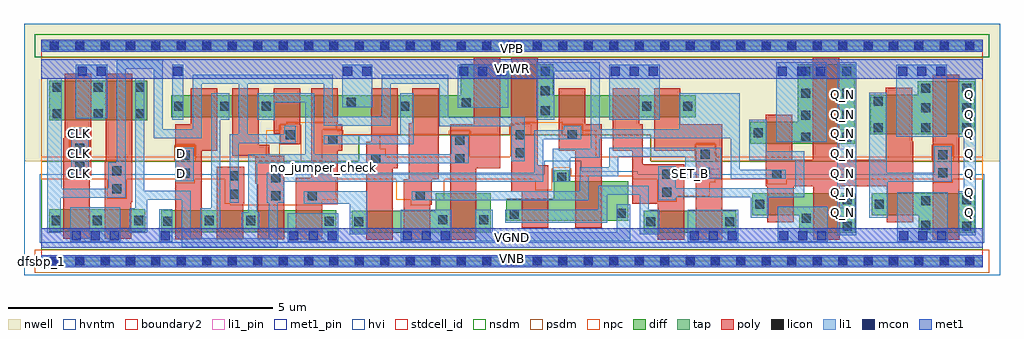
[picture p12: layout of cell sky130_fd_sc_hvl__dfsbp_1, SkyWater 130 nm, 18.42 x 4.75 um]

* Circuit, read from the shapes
.subckt sky130_fd_sc_hvl__dfsbp_1 CLK D Q Q_N SET_B VGND VNB VPB VPWR
XM1 VGND CLK n1 VNB sky130_fd_pr__nfet_g5v0d10v5 w=0.42 l=0.5
XM2 n2 n1 VGND VNB sky130_fd_pr__nfet_g5v0d10v5 w=0.42 l=0.5
XM3 n3 D VGND VNB sky130_fd_pr__nfet_g5v0d10v5 w=0.42 l=0.5
XM4 n4 n1 n3 VNB sky130_fd_pr__nfet_g5v0d10v5 w=0.42 l=0.5
XM5 n5 n2 n4 VNB sky130_fd_pr__nfet_g5v0d10v5 w=0.42 l=0.5
XM6 VGND n6 n5 VNB sky130_fd_pr__nfet_g5v0d10v5 w=0.42 l=0.5
XM7 n7 n4 n6 VNB sky130_fd_pr__nfet_g5v0d10v5 w=0.42 l=0.5
XM8 VGND SET_B n7 VNB sky130_fd_pr__nfet_g5v0d10v5 w=0.42 l=0.5
XM9 n8 n4 VGND VNB sky130_fd_pr__nfet_g5v0d10v5 w=0.75 l=0.5
XM10 n9 n1 n10 VNB sky130_fd_pr__nfet_g5v0d10v5 w=0.42 l=0.5
XM11 n8 n2 n9 VNB sky130_fd_pr__nfet_g5v0d10v5 w=0.75 l=0.5
XM12 n11 n12 n10 VNB sky130_fd_pr__nfet_g5v0d10v5 w=0.42 l=0.5
XM13 VGND SET_B n11 VNB sky130_fd_pr__nfet_g5v0d10v5 w=0.42 l=0.5
XM14 VGND n9 n12 VNB sky130_fd_pr__nfet_g5v0d10v5 w=0.42 l=0.5
XM15 Q_N n9 VGND VNB sky130_fd_pr__nfet_g5v0d10v5 w=0.75 l=0.5
XM16 VGND n9 n13 VNB sky130_fd_pr__nfet_g5v0d10v5 w=0.42 l=0.5
XM17 Q n13 VGND VNB sky130_fd_pr__nfet_g5v0d10v5 w=0.75 l=0.5
XM18 VPWR CLK n1 VPB sky130_fd_pr__pfet_g5v0d10v5 w=0.75 l=0.5
XM19 n2 n1 VPWR VPB sky130_fd_pr__pfet_g5v0d10v5 w=0.75 l=0.5
XM20 n3 D VPWR VPB sky130_fd_pr__pfet_g5v0d10v5 w=0.42 l=0.5
XM21 n4 n2 n3 VPB sky130_fd_pr__pfet_g5v0d10v5 w=0.42 l=0.5
XM22 n14 n1 n4 VPB sky130_fd_pr__pfet_g5v0d10v5 w=0.42 l=0.5
XM23 VPWR n6 n14 VPB sky130_fd_pr__pfet_g5v0d10v5 w=0.42 l=0.5
XM24 n6 n4 VPWR VPB sky130_fd_pr__pfet_g5v0d10v5 w=0.42 l=0.5
XM25 VPWR SET_B n6 VPB sky130_fd_pr__pfet_g5v0d10v5 w=0.42 l=0.5
XM26 n15 n4 VPWR VPB sky130_fd_pr__pfet_g5v0d10v5 w=1 l=0.5
XM27 n9 n1 n15 VPB sky130_fd_pr__pfet_g5v0d10v5 w=1 l=0.5
XM28 n16 n2 n9 VPB sky130_fd_pr__pfet_g5v0d10v5 w=0.42 l=0.5
XM29 VPWR n12 n16 VPB sky130_fd_pr__pfet_g5v0d10v5 w=0.42 l=0.5
XM30 n9 SET_B VPWR VPB sky130_fd_pr__pfet_g5v0d10v5 w=0.42 l=0.5
XM31 VPWR n9 n12 VPB sky130_fd_pr__pfet_g5v0d10v5 w=0.42 l=0.5
XM32 Q_N n9 VPWR VPB sky130_fd_pr__pfet_g5v0d10v5 w=1.5 l=0.5
XM33 VPWR n9 n13 VPB sky130_fd_pr__pfet_g5v0d10v5 w=0.75 l=0.5
XM34 Q n13 VPWR VPB sky130_fd_pr__pfet_g5v0d10v5 w=1 l=0.5
.ends

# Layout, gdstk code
import gdstk
lib = gdstk.Library(unit=1e-6, precision=1e-09)
def R(c, l, rs):  # rectangles x0, y0, x1, y1
    for r in rs: c.add(gdstk.rectangle(r[:2], r[2:], *l))
def A(c, l, x, y, w, h, nx, ny, dx, dy):  # array of equal rectangles
    R(c, l, [(x+i*dx, y+j*dy, x+i*dx+w, y+j*dy+h) for i in range(nx) for j in range(ny)])
def P(c, l, *ps):  # polygons
    for p in ps: c.add(gdstk.Polygon(p, *l))
nwell = (64, 20)
diff = (65, 20)
tap = (65, 44)
poly = (66, 20)
licon = (66, 44)
li1_pin = (67, 16)
li1 = (67, 20)
mcon = (67, 44)
met1_pin = (68, 16)
met1 = (68, 20)
hvi = (75, 20)
stdcell_id = (81, 4)
nsdm = (93, 44)
psdm = (94, 20)
npc = (95, 20)
hvntm = (125, 20)
boundary2 = (236, 0)

sky130_fd_sc_hvl__dfsbp_ = lib.new_cell('sky130_fd_sc_hvl__dfsbp_1')
P(sky130_fd_sc_hvl__dfsbp_, nwell, [(18.09,4.485),(-0.33,4.485),(-0.33,1.885),(5.99,1.885),(5.99,2.385),(11.5,2.385),(11.5,1.885),(18.09,1.885)])
R(sky130_fd_sc_hvl__dfsbp_, diff, [(11.37,0.535,13.11,0.955), (2.26,0.545,5.56,0.965), (0.15,0.56,1.96,0.98), (0.15,2.66,2,3.41)])
P(sky130_fd_sc_hvl__dfsbp_, diff, [(8.475,1.285),(7.445,1.285),(7.445,0.955),(5.86,0.955),(5.86,0.535),(8.475,0.535)],
  [(11.07,1.515),(9.96,1.515),(9.96,1.715),(9.67,1.715),(9.67,1.185),(8.775,1.185),(8.775,0.765),(11.07,0.765)],
  [(12.345,3.135),(9.655,3.135),(9.655,3.715),(7.91,3.715),(7.91,3.135),(2.445,3.135),(2.445,2.715),(12.345,2.715)],
  [(15.345,3.715),(14.275,3.715),(14.275,2.635),(13.38,2.635),(13.38,2.215),(15.345,2.215)],
  [(15.355,1.285),(13.41,1.285),(13.41,0.865),(14.305,0.865),(14.305,0.535),(15.355,0.535)],
  [(17.61,3.395),(16.54,3.395),(16.54,3.145),(15.645,3.145),(15.645,2.395),(17.61,2.395)],
  [(17.61,1.285),(15.665,1.285),(15.665,0.865),(16.56,0.865),(16.56,0.535),(17.61,0.535)])
R(sky130_fd_sc_hvl__dfsbp_, tap, [(0,-0.085,17.76,0.085), (0,3.985,17.76,4.155)])
R(sky130_fd_sc_hvl__dfsbp_, poly, [(16.825,0.405,17.325,3.525)])
P(sky130_fd_sc_hvl__dfsbp_, poly, [(0.935,3.54),(0.435,3.54),(0.435,2.32),(0.415,2.32),(0.415,0.43),(0.915,0.43),(0.915,1.61),(0.935,1.61)],
  [(1.715,3.54),(1.215,3.54),(1.215,1.89),(1.195,1.89),(1.195,0.43),(1.695,0.43),(1.695,1.11),(1.715,1.11)],
  [(3.32,3.265),(2.82,3.265),(2.82,2.585),(2.525,2.585),(2.525,0.415),(3.025,0.415),(3.025,2.085),(3.32,2.085)],
  [(3.825,1.785),(3.305,1.785),(3.305,0.415),(3.805,0.415),(3.805,1.085),(3.825,1.085)],
  [(4.585,1.995),(4.3,1.995),(4.3,2.195),(4.1,2.195),(4.1,3.265),(3.6,3.265),(3.6,1.995),(4.035,1.995),(4.035,1.465),(4.085,1.465),(4.085,0.415),(4.585,0.415)],
  [(4.88,3.265),(4.38,3.265),(4.38,2.405),(4.51,2.405),(4.51,2.205),(4.88,2.205)],
  [(5.68,2.585),(5.59,2.585),(5.59,3.265),(5.09,3.265),(5.09,1.575),(4.795,1.575),(4.795,0.415),(5.295,0.415),(5.295,1.075),(5.59,1.075),(5.59,2.085),(5.68,2.085)],
  [(6.72,3.265),(6.22,3.265),(6.22,2.255),(6.125,2.255),(6.125,0.405),(6.625,0.405),(6.625,1.755),(6.72,1.755)],
  [(7.5,3.265),(7,3.265),(7,2.605),(6.93,2.605),(6.93,1.545),(6.835,1.545),(6.835,0.405),(7.335,0.405),(7.335,1.065),(7.37,1.065),(7.37,1.545),(7.5,1.545)],
  [(8.66,3.845),(8.16,3.845),(8.16,2.585),(7.71,2.585),(7.71,0.405),(8.21,0.405),(8.21,1.755),(8.66,1.755)],
  [(9.56,1.815),(9.37,1.815),(9.37,3.845),(8.87,3.845),(8.87,1.315),(9.06,1.315),(9.06,0.635),(9.56,0.635)],
  [(10.57,2.585),(10.265,2.585),(10.265,3.265),(9.765,3.265),(9.765,2.085),(10.07,2.085),(10.07,0.635),(10.57,0.635)],
  [(12.135,1.83),(11.35,1.83),(11.35,2.585),(11.28,2.585),(11.28,3.265),(10.78,3.265),(10.78,2.085),(11.145,2.085),(11.145,1.085),(11.635,1.085),(11.635,0.405),(12.135,0.405)],
  [(12.845,2.585),(12.06,2.585),(12.06,3.265),(11.56,3.265),(11.56,2.085),(12.345,2.085),(12.345,0.405),(12.845,0.405)],
  [(16.45,2.265),(16.43,2.265),(16.43,3.275),(15.93,3.275),(15.93,1.915),(15.06,1.915),(15.06,3.845),(14.56,3.845),(14.56,1.915),(14.165,1.915),(14.165,2.765),(13.665,2.765),(13.665,1.415),(13.695,1.415),(13.695,0.735),(14.195,0.735),(14.195,1.415),(14.57,1.415),(14.57,0.405),(15.07,0.405),(15.07,1.415),(15.95,1.415),(15.95,0.735),(16.45,0.735)])
A(sky130_fd_sc_hvl__dfsbp_, licon, 0.155, -0.085, 0.17, 0.17, 37, 2, 0.48, 4.07)
A(sky130_fd_sc_hvl__dfsbp_, licon, 0.19, 0.685, 0.17, 0.17, 3, 1, 0.78, 0)
A(sky130_fd_sc_hvl__dfsbp_, licon, 16.6, 2.435, 0.17, 0.17, 1, 3, 0, 0.375)
A(sky130_fd_sc_hvl__dfsbp_, licon, 17.38, 2.435, 0.17, 0.17, 1, 3, 0, 0.375)
A(sky130_fd_sc_hvl__dfsbp_, licon, 0.21, 2.7, 0.17, 0.17, 3, 2, 0.78, 0.5)
A(sky130_fd_sc_hvl__dfsbp_, licon, 9.425, 2.755, 0.17, 0.17, 1, 3, 0, 0.375)
R(sky130_fd_sc_hvl__dfsbp_, licon, [(15.125,0.575,15.295,0.745), (17.38,0.575,17.55,0.745), (16.6,0.595,16.77,0.765), (5.9,0.66,6.07,0.83), (11.41,0.66,11.58,0.83), (12.9,0.66,13.07,0.83), (2.3,0.67,2.47,0.84), (5.35,0.67,5.52,0.84), (3.08,0.685,3.25,0.855), (3.86,0.685,4.03,0.855), (7.485,0.7,7.655,0.87), (8.265,0.7,8.435,0.87), (14.345,0.725,14.515,0.895), (8.835,0.805,9.005,0.975), (10.86,0.825,11.03,0.995), (13.47,0.99,13.64,1.16), (15.725,0.99,15.895,1.16), (16.6,1.055,16.77,1.225), (15.125,1.075,15.295,1.245), (17.38,1.075,17.55,1.245), (4.335,1.155,4.505,1.325), (5.025,1.155,5.195,1.325), (7.065,1.155,7.235,1.325), (3.555,1.185,3.725,1.355), (11.72,1.22,11.89,1.39), (1.34,1.28,1.51,1.45), (4.335,1.495,4.505,1.665), (9.73,1.505,9.9,1.675), (3.555,1.525,3.725,1.695), (13.795,1.555,13.965,1.725), (11.72,1.56,11.89,1.73), (2.625,1.575,2.795,1.745), (16.925,1.585,17.095,1.755), (12.445,1.595,12.615,1.765), (1.34,1.62,1.51,1.79), (0.64,1.71,0.81,1.88), (6.225,1.855,6.395,2.025), (7.81,1.855,7.98,2.025), (2.625,1.915,2.795,2.085), (16.925,1.925,17.095,2.095), (12.445,1.935,12.615,2.105), (8.95,1.965,9.12,2.135), (0.64,2.05,0.81,2.22), (7.81,2.195,7.98,2.365), (5.41,2.205,5.58,2.375), (14.335,2.255,14.505,2.425), (15.115,2.255,15.285,2.425), (4.61,2.305,4.78,2.475), (8.95,2.305,9.12,2.475), (9.935,2.305,10.105,2.475), (13.44,2.34,13.61,2.51), (15.705,2.435,15.875,2.605), (14.335,2.67,14.505,2.84), (15.115,2.67,15.285,2.84), (2.505,2.84,2.675,3.01), (3.375,2.84,3.545,3.01), (4.155,2.84,4.325,3.01), (6.775,2.84,6.945,3.01), (11.335,2.84,11.505,3.01), (12.115,2.84,12.285,3.01), (7.935,2.91,8.105,3.08), (5.76,2.915,5.93,3.085), (15.705,2.935,15.875,3.105), (14.335,3.09,14.505,3.26), (15.115,3.09,15.285,3.26), (14.335,3.505,14.505,3.675), (15.115,3.505,15.285,3.675)])
A(sky130_fd_sc_hvl__dfsbp_, li1_pin, 0.635, 1.58, 0.17, 0.17, 1, 3, 0, 0.37)
A(sky130_fd_sc_hvl__dfsbp_, li1_pin, 12.635, 1.58, 0.17, 0.17, 3, 1, 2.4, 0)
A(sky130_fd_sc_hvl__dfsbp_, li1_pin, 15.035, 1.95, 0.17, 0.17, 1, 4, 0, 0.37)
A(sky130_fd_sc_hvl__dfsbp_, li1_pin, 17.435, 1.95, 0.17, 0.17, 1, 4, 0, 0.37)
R(sky130_fd_sc_hvl__dfsbp_, li1_pin, [(15.035,0.84,15.205,1.01), (17.435,0.84,17.605,1.01), (15.035,1.21,15.205,1.38), (17.435,1.21,17.605,1.38), (2.555,1.58,2.725,1.75), (12.155,1.58,12.325,1.75), (2.555,1.95,2.725,2.12)])
R(sky130_fd_sc_hvl__dfsbp_, li1, [(0,-0.085,17.76,0.085), (0.54,0.365,1.49,1.02), (2.22,0.365,2.47,0.985), (4.65,0.365,5.6,0.905), (6.785,0.365,7.735,0.975), (12.2,0.365,13.15,0.975), (13.9,0.365,14.835,1.025), (16.155,0.365,17.105,1.305), (15.015,0.495,15.375,3.755), (2.525,1.515,2.875,2.145), (0.56,1.55,0.89,2.52), (13.87,2.255,14.82,3.755), (16.135,2.355,17.085,3.705), (2.47,2.675,2.675,3.705), (10.715,2.675,11.665,3.705), (0.65,2.7,1.24,3.705), (7.855,2.895,8.805,3.705), (5.68,2.905,6.245,3.705), (0,3.985,17.76,4.155)])
P(sky130_fd_sc_hvl__dfsbp_, li1, [(3.545,3.175),(3.205,3.175),(3.205,1.005),(3,1.005),(3,0.615),(3.375,0.615),(3.375,2.675),(3.545,2.675)],
  [(6.15,1.325),(4.945,1.325),(4.945,1.085),(5.82,1.085),(5.82,0.515),(6.15,0.515)],
  [(7.025,3.175),(6.775,3.175),(6.775,2.375),(5.33,2.375),(5.33,2.205),(7.025,2.205)],
  [(8.06,2.365),(7.73,2.365),(7.73,2.025),(5.15,2.025),(5.15,3.175),(4.075,3.175),(4.075,2.675),(4.405,2.675),(4.405,3.005),(4.98,3.005),(4.98,2.025),(3.905,2.025),(3.905,0.925),(3.78,0.925),(3.78,0.615),(4.11,0.615),(4.11,0.925),(4.075,0.925),(4.075,1.855),(8.06,1.855)],
  [(9.12,2.715),(7.675,2.715),(7.675,3.525),(6.425,3.525),(6.425,2.725),(5.5,2.725),(5.5,3.525),(2.855,3.525),(2.855,2.495),(2.29,2.495),(2.29,3.8),(1.42,3.8),(1.42,1.87),(1.26,1.87),(1.26,1.37),(0.38,1.37),(0.38,3.45),(0.11,3.45),(0.11,0.54),(0.36,0.54),(0.36,1.2),(1.59,1.2),(1.59,3.63),(2.12,3.63),(2.12,2.325),(3.025,2.325),(3.025,3.355),(3.725,3.355),(3.725,2.395),(3.555,2.395),(3.555,1.105),(3.725,1.105),(3.725,2.225),(4.8,2.225),(4.8,2.555),(4.585,2.555),(4.585,2.395),(3.895,2.395),(3.895,3.355),(5.33,3.355),(5.33,2.555),(6.595,2.555),(6.595,3.355),(7.505,3.355),(7.505,2.545),(8.87,2.545),(8.87,1.885),(9.12,1.885)],
  [(10.185,2.555),(9.855,2.555),(9.855,2.475),(9.3,2.475),(9.3,1.675),(4.255,1.675),(4.255,1.105),(4.29,1.105),(4.29,0.435),(2.82,0.435),(2.82,1.335),(1.94,1.335),(1.94,3.45),(1.77,3.45),(1.77,1),(1.67,1),(1.67,0.54),(2,0.54),(2,1.165),(2.65,1.165),(2.65,0.265),(4.46,0.265),(4.46,1.105),(4.585,1.105),(4.585,1.505),(9.47,1.505),(9.47,2.305),(10.185,2.305)],
  [(11.11,1.075),(10.86,1.075),(10.86,0.545),(8.515,0.545),(8.515,0.975),(8.185,0.975),(8.185,0.375),(11.11,0.375)],
  [(11.66,0.975),(11.46,0.975),(11.46,1.425),(10.51,1.425),(10.51,0.975),(8.755,0.975),(8.755,0.725),(10.68,0.725),(10.68,1.255),(11.29,1.255),(11.29,0.515),(11.66,0.515)],
  [(12.83,2.145),(10.715,2.145),(10.715,1.775),(10.16,1.775),(10.16,1.325),(6.985,1.325),(6.985,1.155),(10.33,1.155),(10.33,1.605),(10.885,1.605),(10.885,1.975),(12.15,1.975),(12.15,1.555),(12.83,1.555)],
  [(14.045,1.725),(13.18,1.725),(13.18,3.175),(12.035,3.175),(12.035,2.495),(10.535,2.495),(10.535,3.755),(9.345,3.755),(9.345,2.675),(9.675,2.675),(9.675,3.585),(10.365,3.585),(10.365,2.125),(9.65,2.125),(9.65,1.505),(9.98,1.505),(9.98,1.955),(10.535,1.955),(10.535,2.325),(13.01,2.325),(13.01,1.555),(14.045,1.555)],
  [(14.395,2.075),(13.69,2.075),(13.69,2.675),(13.36,2.675),(13.36,1.905),(14.225,1.905),(14.225,1.375),(11.97,1.375),(11.97,1.795),(11.64,1.795),(11.64,1.155),(11.97,1.155),(11.97,1.205),(13.39,1.205),(13.39,0.825),(13.72,0.825),(13.72,1.205),(14.395,1.205)],
  [(17.175,2.175),(16.845,2.175),(16.845,1.675),(15.955,1.675),(15.955,3.185),(15.625,3.185),(15.625,0.825),(15.975,0.825),(15.975,1.505),(17.175,1.505)],
  [(17.635,3.435),(17.3,3.435),(17.3,2.355),(17.405,2.355),(17.405,1.325),(17.3,1.325),(17.3,0.495),(17.635,0.495)])
A(sky130_fd_sc_hvl__dfsbp_, mcon, 0.57, 0.395, 0.17, 0.17, 3, 1, 0.36, 0)
A(sky130_fd_sc_hvl__dfsbp_, mcon, 4.68, 0.395, 0.17, 0.17, 3, 1, 0.36, 0)
A(sky130_fd_sc_hvl__dfsbp_, mcon, 6.815, 0.395, 0.17, 0.17, 3, 1, 0.36, 0)
A(sky130_fd_sc_hvl__dfsbp_, mcon, 12.23, 0.395, 0.17, 0.17, 3, 1, 0.36, 0)
A(sky130_fd_sc_hvl__dfsbp_, mcon, 13.92, 0.395, 0.17, 0.17, 3, 1, 0.36, 0)
A(sky130_fd_sc_hvl__dfsbp_, mcon, 16.185, 0.395, 0.17, 0.17, 3, 1, 0.36, 0)
A(sky130_fd_sc_hvl__dfsbp_, mcon, 7.885, 3.505, 0.17, 0.17, 3, 1, 0.36, 0)
A(sky130_fd_sc_hvl__dfsbp_, mcon, 10.745, 3.505, 0.17, 0.17, 3, 1, 0.36, 0)
A(sky130_fd_sc_hvl__dfsbp_, mcon, 13.9, 3.505, 0.17, 0.17, 3, 1, 0.36, 0)
A(sky130_fd_sc_hvl__dfsbp_, mcon, 16.165, 3.505, 0.17, 0.17, 3, 1, 0.36, 0)
R(sky130_fd_sc_hvl__dfsbp_, mcon, [(0.155,-0.085,0.325,0.085), (0.155,-0.085,0.325,0.085), (0.635,-0.085,0.805,0.085), (0.635,-0.085,0.805,0.085), (1.115,-0.085,1.285,0.085), (1.115,-0.085,1.285,0.085), (1.595,-0.085,1.765,0.085), (1.595,-0.085,1.765,0.085), (2.075,-0.085,2.245,0.085), (2.075,-0.085,2.245,0.085), (2.555,-0.085,2.725,0.085), (2.555,-0.085,2.725,0.085), (3.035,-0.085,3.205,0.085), (3.035,-0.085,3.205,0.085), (3.515,-0.085,3.685,0.085), (3.515,-0.085,3.685,0.085), (3.995,-0.085,4.165,0.085), (3.995,-0.085,4.165,0.085), (4.475,-0.085,4.645,0.085), (4.475,-0.085,4.645,0.085), (4.955,-0.085,5.125,0.085), (4.955,-0.085,5.125,0.085), (5.435,-0.085,5.605,0.085), (5.435,-0.085,5.605,0.085), (5.915,-0.085,6.085,0.085), (5.915,-0.085,6.085,0.085), (6.395,-0.085,6.565,0.085), (6.395,-0.085,6.565,0.085), (6.875,-0.085,7.045,0.085), (6.875,-0.085,7.045,0.085), (7.355,-0.085,7.525,0.085), (7.355,-0.085,7.525,0.085), (7.835,-0.085,8.005,0.085), (7.835,-0.085,8.005,0.085), (8.315,-0.085,8.485,0.085), (8.315,-0.085,8.485,0.085), (8.795,-0.085,8.965,0.085), (8.795,-0.085,8.965,0.085), (9.275,-0.085,9.445,0.085), (9.275,-0.085,9.445,0.085), (9.755,-0.085,9.925,0.085), (9.755,-0.085,9.925,0.085), (10.235,-0.085,10.405,0.085), (10.235,-0.085,10.405,0.085), (10.715,-0.085,10.885,0.085), (10.715,-0.085,10.885,0.085), (11.195,-0.085,11.365,0.085), (11.195,-0.085,11.365,0.085), (11.675,-0.085,11.845,0.085), (11.675,-0.085,11.845,0.085), (12.155,-0.085,12.325,0.085), (12.155,-0.085,12.325,0.085), (12.635,-0.085,12.805,0.085), (12.635,-0.085,12.805,0.085), (13.115,-0.085,13.285,0.085), (13.115,-0.085,13.285,0.085), (13.595,-0.085,13.765,0.085), (13.595,-0.085,13.765,0.085), (14.075,-0.085,14.245,0.085), (14.075,-0.085,14.245,0.085), (14.555,-0.085,14.725,0.085), (14.555,-0.085,14.725,0.085), (15.035,-0.085,15.205,0.085), (15.035,-0.085,15.205,0.085), (15.515,-0.085,15.685,0.085), (15.515,-0.085,15.685,0.085), (15.995,-0.085,16.165,0.085), (15.995,-0.085,16.165,0.085), (16.475,-0.085,16.645,0.085), (16.475,-0.085,16.645,0.085), (16.955,-0.085,17.125,0.085), (16.955,-0.085,17.125,0.085), (17.435,-0.085,17.605,0.085), (17.435,-0.085,17.605,0.085), (2.25,0.395,2.42,0.565), (0.68,3.505,0.85,3.675), (1.04,3.505,1.21,3.675), (2.49,3.505,2.66,3.675), (5.695,3.505,5.865,3.675), (6.055,3.505,6.225,3.675), (0.155,3.985,0.325,4.155), (0.155,3.985,0.325,4.155), (0.635,3.985,0.805,4.155), (0.635,3.985,0.805,4.155), (1.115,3.985,1.285,4.155), (1.115,3.985,1.285,4.155), (1.595,3.985,1.765,4.155), (1.595,3.985,1.765,4.155), (2.075,3.985,2.245,4.155), (2.075,3.985,2.245,4.155), (2.555,3.985,2.725,4.155), (2.555,3.985,2.725,4.155), (3.035,3.985,3.205,4.155), (3.035,3.985,3.205,4.155), (3.515,3.985,3.685,4.155), (3.515,3.985,3.685,4.155), (3.995,3.985,4.165,4.155), (3.995,3.985,4.165,4.155), (4.475,3.985,4.645,4.155), (4.475,3.985,4.645,4.155), (4.955,3.985,5.125,4.155), (4.955,3.985,5.125,4.155), (5.435,3.985,5.605,4.155), (5.435,3.985,5.605,4.155), (5.915,3.985,6.085,4.155), (5.915,3.985,6.085,4.155), (6.395,3.985,6.565,4.155), (6.395,3.985,6.565,4.155), (6.875,3.985,7.045,4.155), (6.875,3.985,7.045,4.155), (7.355,3.985,7.525,4.155), (7.355,3.985,7.525,4.155), (7.835,3.985,8.005,4.155), (7.835,3.985,8.005,4.155), (8.315,3.985,8.485,4.155), (8.315,3.985,8.485,4.155), (8.795,3.985,8.965,4.155), (8.795,3.985,8.965,4.155), (9.275,3.985,9.445,4.155), (9.275,3.985,9.445,4.155), (9.755,3.985,9.925,4.155), (9.755,3.985,9.925,4.155), (10.235,3.985,10.405,4.155), (10.235,3.985,10.405,4.155), (10.715,3.985,10.885,4.155), (10.715,3.985,10.885,4.155), (11.195,3.985,11.365,4.155), (11.195,3.985,11.365,4.155), (11.675,3.985,11.845,4.155), (11.675,3.985,11.845,4.155), (12.155,3.985,12.325,4.155), (12.155,3.985,12.325,4.155), (12.635,3.985,12.805,4.155), (12.635,3.985,12.805,4.155), (13.115,3.985,13.285,4.155), (13.115,3.985,13.285,4.155), (13.595,3.985,13.765,4.155), (13.595,3.985,13.765,4.155), (14.075,3.985,14.245,4.155), (14.075,3.985,14.245,4.155), (14.555,3.985,14.725,4.155), (14.555,3.985,14.725,4.155), (15.035,3.985,15.205,4.155), (15.035,3.985,15.205,4.155), (15.515,3.985,15.685,4.155), (15.515,3.985,15.685,4.155), (15.995,3.985,16.165,4.155), (15.995,3.985,16.165,4.155), (16.475,3.985,16.645,4.155), (16.475,3.985,16.645,4.155), (16.955,3.985,17.125,4.155), (16.955,3.985,17.125,4.155), (17.435,3.985,17.605,4.155), (17.435,3.985,17.605,4.155)])
R(sky130_fd_sc_hvl__dfsbp_, met1_pin, [(0,0,17.76,0.115), (0,0.255,17.76,0.625), (0,3.445,17.76,3.815), (0,3.955,17.76,4.07)])
R(sky130_fd_sc_hvl__dfsbp_, met1, [(0,-0.115,17.76,0.115), (0,0.255,17.76,0.625), (0,3.445,17.76,3.815), (0,3.955,17.76,4.185)])
R(sky130_fd_sc_hvl__dfsbp_, hvi, [(-0.33,-0.265,18.09,4.485)])
R(sky130_fd_sc_hvl__dfsbp_, stdcell_id, [(0,0,17.76,4.07)])
R(sky130_fd_sc_hvl__dfsbp_, nsdm, [(-0.13,3.855,17.89,4.285), (0,3.855,17.76,4.07)])
P(sky130_fd_sc_hvl__dfsbp_, nsdm, [(17.76,1.885),(11.5,1.885),(11.5,2.385),(5.99,2.385),(5.99,1.885),(0,1.885),(0,0.215),(17.76,0.215)])
R(sky130_fd_sc_hvl__dfsbp_, psdm, [(-0.13,-0.215,17.89,0.215)])
P(sky130_fd_sc_hvl__dfsbp_, psdm, [(17.76,3.855),(0,3.855),(0,1.885),(0.53,1.885),(0.53,2.33),(0.92,2.33),(0.92,1.9),(1.62,1.9),(1.62,1.885),(2.515,1.885),(2.515,2.195),(2.905,2.195),(2.905,1.885),(4.5,1.885),(4.5,2.585),(4.89,2.585),(4.89,1.885),(5.3,1.885),(5.3,2.485),(5.69,2.485),(5.69,2.385),(7.7,2.385),(7.7,2.475),(8.09,2.475),(8.09,2.385),(8.84,2.385),(8.84,2.585),(9.23,2.585),(9.23,2.385),(9.825,2.385),(9.825,2.585),(10.215,2.585),(10.215,2.385),(11.5,2.385),(11.5,1.885),(12.335,1.885),(12.335,2.215),(12.725,2.215),(12.725,1.885),(16.815,1.885),(16.815,2.205),(17.205,2.205),(17.205,1.885),(17.76,1.885)])
P(sky130_fd_sc_hvl__dfsbp_, npc, [(17.76,1.97),(17.195,1.97),(17.195,2.195),(16.825,2.195),(16.825,1.97),(12.715,1.97),(12.715,2.205),(12.345,2.205),(12.345,1.97),(10.47,1.97),(10.47,2.47),(10.205,2.47),(10.205,2.575),(9.835,2.575),(9.835,2.625),(8.955,2.625),(8.955,2.575),(8.85,2.575),(8.85,1.97),(8.08,1.97),(8.08,2.465),(7.71,2.465),(7.71,1.97),(6.495,1.97),(6.495,2.125),(6.39,2.125),(6.39,2.39),(5.68,2.39),(5.68,2.475),(5.575,2.475),(5.575,2.625),(4.615,2.625),(4.615,2.575),(4.51,2.575),(4.51,2.47),(4.245,2.47),(4.245,1.97),(2.895,1.97),(2.895,2.185),(2.525,2.185),(2.525,1.97),(0.91,1.97),(0.91,2.32),(0.54,2.32),(0.54,1.97),(0,1.97),(0,1.545),(1.24,1.545),(1.24,1.18),(1.61,1.18),(1.61,1.545),(2.525,1.545),(2.525,1.475),(2.895,1.475),(2.895,1.545),(3.455,1.545),(3.455,1.085),(3.56,1.085),(3.56,1.055),(5.295,1.055),(5.295,1.16),(5.56,1.16),(5.56,1.545),(6.7,1.545),(6.7,1.16),(6.965,1.16),(6.965,1.055),(7.335,1.055),(7.335,1.16),(7.6,1.16),(7.6,1.545),(9.315,1.545),(9.315,1.34),(9.64,1.34),(9.64,1.765),(9.99,1.765),(9.99,1.605),(11.16,1.605),(11.16,1.545),(11.62,1.545),(11.62,1.12),(11.99,1.12),(11.99,1.23),(12.61,1.23),(12.61,1.495),(12.715,1.495),(12.715,1.545),(13.695,1.545),(13.695,1.455),(14.065,1.455),(14.065,1.545),(16.825,1.545),(16.825,1.485),(17.195,1.485),(17.195,1.545),(17.76,1.545)])
P(sky130_fd_sc_hvl__dfsbp_, hvntm, [(17.795,1.64),(11.255,1.64),(11.255,1.7),(10.185,1.7),(10.185,1.9),(9.485,1.9),(9.485,1.64),(-0.035,1.64),(-0.035,0.35),(17.795,0.35)])
R(sky130_fd_sc_hvl__dfsbp_, boundary2, [(0,0,17.76,4.07)])
sky130_fd_sc_hvl__dfsbp_.add(gdstk.Label('no_jumper_check', (5.325,1.765), layer=83, texttype=44))
sky130_fd_sc_hvl__dfsbp_.add(gdstk.Label('dfsbp_1', (0,0), layer=83, texttype=44))
sky130_fd_sc_hvl__dfsbp_.add(gdstk.Label('VGND', (8.88,0.44), layer=68, texttype=5))
sky130_fd_sc_hvl__dfsbp_.add(gdstk.Label('VNB', (8.88,0.058), layer=68, texttype=5))
sky130_fd_sc_hvl__dfsbp_.add(gdstk.Label('VPWR', (8.88,3.63), layer=68, texttype=5))
sky130_fd_sc_hvl__dfsbp_.add(gdstk.Label('VPB', (8.88,4.013), layer=68, texttype=5))
sky130_fd_sc_hvl__dfsbp_.add(gdstk.Label('D', (2.64,1.665), layer=67, texttype=5))
sky130_fd_sc_hvl__dfsbp_.add(gdstk.Label('D', (2.64,2.035), layer=67, texttype=5))
sky130_fd_sc_hvl__dfsbp_.add(gdstk.Label('CLK', (0.72,1.665), layer=67, texttype=5))
sky130_fd_sc_hvl__dfsbp_.add(gdstk.Label('CLK', (0.72,2.035), layer=67, texttype=5))
sky130_fd_sc_hvl__dfsbp_.add(gdstk.Label('CLK', (0.72,2.405), layer=67, texttype=5))
sky130_fd_sc_hvl__dfsbp_.add(gdstk.Label('SET_B', (12.24,1.665), layer=67, texttype=5))
sky130_fd_sc_hvl__dfsbp_.add(gdstk.Label('SET_B', (12.72,1.665), layer=67, texttype=5))
sky130_fd_sc_hvl__dfsbp_.add(gdstk.Label('Q', (17.52,0.925), layer=67, texttype=5))
sky130_fd_sc_hvl__dfsbp_.add(gdstk.Label('Q', (17.52,1.295), layer=67, texttype=5))
sky130_fd_sc_hvl__dfsbp_.add(gdstk.Label('Q', (17.52,1.665), layer=67, texttype=5))
sky130_fd_sc_hvl__dfsbp_.add(gdstk.Label('Q', (17.52,2.035), layer=67, texttype=5))
sky130_fd_sc_hvl__dfsbp_.add(gdstk.Label('Q', (17.52,2.405), layer=67, texttype=5))
sky130_fd_sc_hvl__dfsbp_.add(gdstk.Label('Q', (17.52,2.775), layer=67, texttype=5))
sky130_fd_sc_hvl__dfsbp_.add(gdstk.Label('Q', (17.52,3.145), layer=67, texttype=5))
sky130_fd_sc_hvl__dfsbp_.add(gdstk.Label('Q_N', (15.12,0.925), layer=67, texttype=5))
sky130_fd_sc_hvl__dfsbp_.add(gdstk.Label('Q_N', (15.12,1.295), layer=67, texttype=5))
sky130_fd_sc_hvl__dfsbp_.add(gdstk.Label('Q_N', (15.12,1.665), layer=67, texttype=5))
sky130_fd_sc_hvl__dfsbp_.add(gdstk.Label('Q_N', (15.12,2.035), layer=67, texttype=5))
sky130_fd_sc_hvl__dfsbp_.add(gdstk.Label('Q_N', (15.12,2.405), layer=67, texttype=5))
sky130_fd_sc_hvl__dfsbp_.add(gdstk.Label('Q_N', (15.12,2.775), layer=67, texttype=5))
sky130_fd_sc_hvl__dfsbp_.add(gdstk.Label('Q_N', (15.12,3.145), layer=67, texttype=5))

lib.write_gds('sky130_fd_sc_hvl__dfsbp_1.gds')
